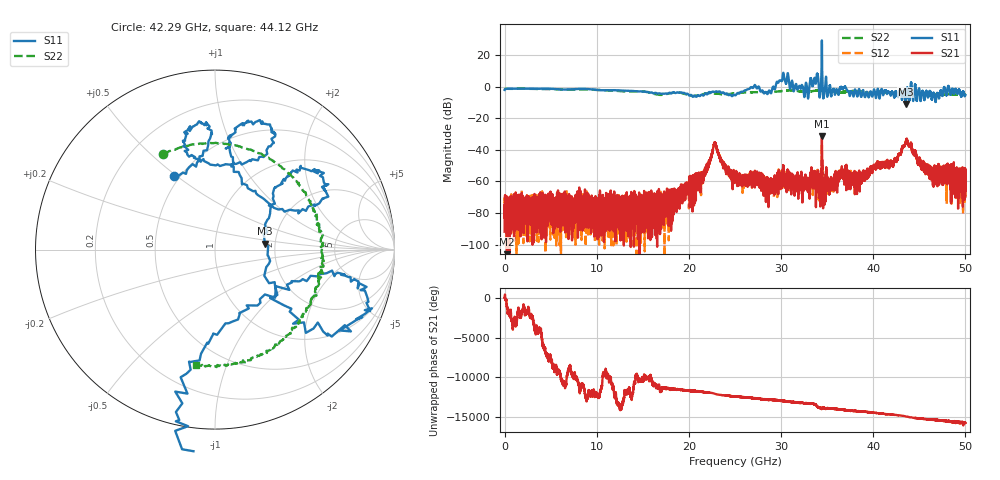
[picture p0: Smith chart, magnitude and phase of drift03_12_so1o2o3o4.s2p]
!Created with skrf (http://scikit-rf.org).
# Hz S RI R 50.0
!freq ReS11 ImS11 ReS21 ImS21 ReS12 ImS12 ReS22 ImS22
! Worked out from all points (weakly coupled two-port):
!   10000 points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, 5.3 MHz to 50 GHz, reference 50 ohm
!   highest |S21| = -31.25 dB at 34.43 GHz (marker M1); lowest = -127.7 dB at 255.3 MHz (marker M2)
!   lowest |S11| = -11.1 dB at 43.52 GHz (marker M3), VSWR 1.78, Z = 88.1 + j6.4 ohm
!   |S11| at or under -10 dB: 43.49437 GHz to 43.55565 GHz (61.28 MHz wide, 0.141 % of centre)
!   |S22| runs from -5.9 to -1.3 dB; largest |S21 - S12| = 0.018
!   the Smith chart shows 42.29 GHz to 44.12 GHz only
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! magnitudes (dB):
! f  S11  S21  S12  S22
! 5.3 MHz  -2.1  -91.7  -72.1  -2.1
! 255.3 MHz  -1.4  -127.7  -76.3  -1.4
! 8.34 GHz  -1.5  -74.1  -76.5  -1.9
! 16.67 GHz  -4.4  -74.1  -78.8  -5.2
! 17.94 GHz  -3.9  -73.1  -71.3  -4.3
! 21.36 GHz  -5.1  -55.9  -57.1  -5.0
! 22.82 GHz  -3.4  -35.2  -35.4  -4.5
! 25.01 GHz  -5.5  -59.1  -59.5  -4.2
! 27.02 GHz  -0.3  -58.4  -59.7  -3.5
! 28.72 GHz  -2.5  -60.0  -63.9  -3.5
! 30.14 GHz  4.4  -54.3  -58.3  -2.8
! 32.74 GHz  2.0  -61.0  -60.3  -3.4
! 33.34 GHz  2.5  -59.1  -57.6  -2.9
! 33.82 GHz  3.9  -59.2  -60.5  -2.6
! 34.43 GHz  29.1  -31.2  -37.1  -2.3
! 35.41 GHz  -5.3  -61.1  -66.1  -2.8
! 36.83 GHz  -0.6  -57.6  -54.8  -3.5
! 38.48 GHz  -1.6  -53.1  -54.3  -3.1
! 41.67 GHz  -3.3  -51.4  -50.8  -3.7
! 43.52 GHz  -11.1  -35.4  -35.6  -4.3
! 46.34 GHz  -8.0  -55.1  -52.1  -5.5
! 50 GHz  -5.3  -55.1  -61.0  -4.9
